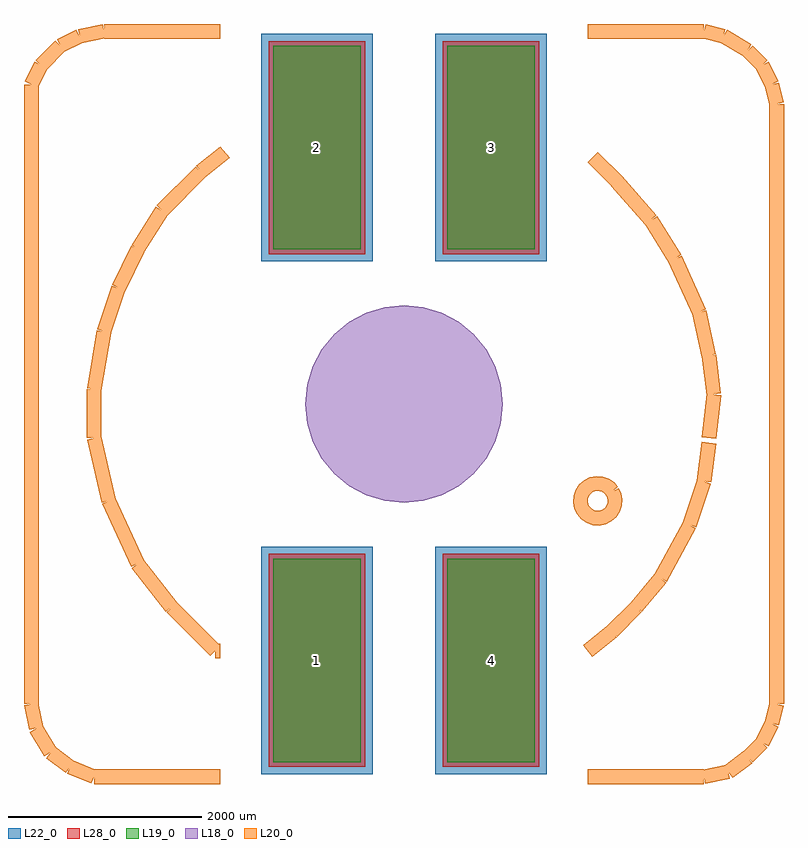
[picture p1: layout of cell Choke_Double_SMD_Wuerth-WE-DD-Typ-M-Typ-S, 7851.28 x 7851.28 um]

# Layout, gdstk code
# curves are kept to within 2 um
import gdstk
lib = gdstk.Library(unit=1e-6, precision=1e-09)
def R(c, l, rs):  # rectangles x0, y0, x1, y1
    for r in rs: c.add(gdstk.rectangle(r[:2], r[2:], *l))
def P(c, l, *ps):  # polygons
    for p in ps: c.add(gdstk.Polygon(p, *l))
L18_0 = (18, 0)
L19_0 = (19, 0)
L20_0 = (20, 0)
L22_0 = (22, 0)
L28_0 = (28, 0)

choke_double_smd_wuerth_ = lib.new_cell('Choke_Double_SMD_Wuerth-WE-DD-Typ-M-Typ-S')
P(choke_double_smd_wuerth_, L18_0, [(100,0),(92.388,38.268),(70.711,70.711),(38.268,92.388),(0,100),(-38.268,92.388),(-70.711,70.711),(-92.388,38.268),(-100,0),(-92.388,-38.268),(-70.711,-70.711),(-38.268,-92.388),(0,-100),(38.268,-92.388),(70.711,-70.711),(92.388,-38.268)],
  [(316.227,0),(310.151,61.693),(292.156,121.015),(262.933,175.686),(223.606,223.606),(175.686,262.933),(121.015,292.156),(61.693,310.151),(0,316.227),(-61.693,310.151),(-121.015,292.156),(-175.686,262.933),(-223.606,223.606),(-262.933,175.686),(-292.156,121.015),(-310.151,61.693),(-316.227,0),(-310.151,-61.693),(-292.156,-121.015),(-262.933,-175.686),(-223.606,-223.606),(-175.686,-262.933),(-121.015,-292.156),(-61.693,-310.151),(0,-316.227),(61.693,-310.151),(121.015,-292.156),(175.686,-262.933),(223.606,-223.606),(262.933,-175.686),(292.156,-121.015),(310.151,-61.693)],
  [(600,0),(588.471,117.054),(554.328,229.61),(498.882,333.342),(424.264,424.264),(333.342,498.882),(229.61,554.328),(117.054,588.471),(0,600),(-117.054,588.471),(-229.61,554.328),(-333.342,498.882),(-424.264,424.264),(-498.882,333.342),(-554.328,229.61),(-588.471,117.054),(-600,0),(-588.471,-117.054),(-554.328,-229.61),(-498.882,-333.342),(-424.264,-424.264),(-333.342,-498.882),(-229.61,-554.328),(-117.054,-588.471),(0,-600),(117.054,-588.471),(229.61,-554.328),(333.342,-498.882),(424.264,-424.264),(498.882,-333.342),(554.328,-229.61),(588.471,-117.054)],
  [(806.225,0),(790.734,157.287),(744.855,308.529),(670.352,447.915),(570.087,570.087),(447.915,670.352),(308.529,744.855),(157.287,790.734),(0,806.225),(-157.287,790.734),(-308.529,744.855),(-447.915,670.352),(-570.087,570.087),(-670.352,447.915),(-744.855,308.529),(-790.734,157.287),(-806.225,0),(-790.734,-157.287),(-744.855,-308.529),(-670.352,-447.915),(-570.087,-570.087),(-447.915,-670.352),(-308.529,-744.855),(-157.287,-790.734),(0,-806.225),(157.287,-790.734),(308.529,-744.855),(447.915,-670.352),(570.087,-570.087),(670.352,-447.915),(744.855,-308.529),(790.734,-157.287)],
  [(1019.803,0),(1000.208,198.954),(942.175,390.262),(847.935,566.572),(721.11,721.11),(566.572,847.935),(390.262,942.175),(198.954,1000.208),(0,1019.803),(-198.954,1000.208),(-390.262,942.175),(-566.572,847.935),(-721.11,721.11),(-847.935,566.572),(-942.175,390.262),(-1000.208,198.954),(-1019.803,0),(-1000.208,-198.954),(-942.175,-390.262),(-847.935,-566.572),(-721.11,-721.11),(-566.572,-847.935),(-390.262,-942.175),(-198.954,-1000.208),(0,-1019.803),(198.954,-1000.208),(390.262,-942.175),(566.572,-847.935),(721.11,-721.11),(847.935,-566.572),(942.175,-390.262),(1000.208,-198.954)])
R(choke_double_smd_wuerth_, L19_0, [(-1349.54,-3699.04,-448.78,-1599.4), (448.78,-3699.04,1349.54,-1599.4), (-1349.54,1599.4,-448.78,3699.04), (448.78,1599.4,1349.54,3699.04)])
R(choke_double_smd_wuerth_, L22_0, [(-1474.54,-3824.04,-323.78,-1474.4), (323.78,-3824.04,1474.54,-1474.4), (-1474.54,1474.4,-323.78,3824.04), (323.78,1474.4,1474.54,3824.04)])
R(choke_double_smd_wuerth_, L28_0, [(-1399.54,-3749.04,-398.78,-1549.4), (398.78,-3749.04,1399.54,-1549.4), (-1399.54,1549.4,-398.78,3749.04), (398.78,1549.4,1399.54,3749.04)])
choke_double_smd_wuerth_.add(gdstk.FlexPath([(3799.84,3299.46),(3850.64,3098.8)], 149.998, ends="flush", simple_path=True, layer=20, datatype=0))  # L20_0
choke_double_smd_wuerth_.add(gdstk.FlexPath([(3700.78,3500.12),(3799.84,3299.46)], 149.998, ends="flush", simple_path=True, layer=20, datatype=0))  # L20_0
choke_double_smd_wuerth_.add(gdstk.FlexPath([(3550.92,3649.98),(3700.78,3500.12)], 149.998, ends="flush", simple_path=True, layer=20, datatype=0))  # L20_0
choke_double_smd_wuerth_.add(gdstk.FlexPath([(3299.46,3799.84),(3550.92,3649.98)], 149.998, ends="flush", simple_path=True, layer=20, datatype=0))  # L20_0
choke_double_smd_wuerth_.add(gdstk.FlexPath([(3098.8,3850.64),(3299.46,3799.84)], 149.998, ends="flush", simple_path=True, layer=20, datatype=0))  # L20_0
choke_double_smd_wuerth_.add(gdstk.FlexPath([(1899.92,3850.64),(3098.8,3850.64)], 149.998, ends="flush", simple_path=True, layer=20, datatype=0))  # L20_0
choke_double_smd_wuerth_.add(gdstk.FlexPath([(3098.8,-3850.64),(1899.92,-3850.64)], 149.998, ends="flush", simple_path=True, layer=20, datatype=0))  # L20_0
choke_double_smd_wuerth_.add(gdstk.FlexPath([(3350.26,-3799.84),(3098.8,-3850.64)], 149.998, ends="flush", simple_path=True, layer=20, datatype=0))  # L20_0
choke_double_smd_wuerth_.add(gdstk.FlexPath([(3550.92,-3649.98),(3350.26,-3799.84)], 149.998, ends="flush", simple_path=True, layer=20, datatype=0))  # L20_0
choke_double_smd_wuerth_.add(gdstk.FlexPath([(3700.78,-3500.12),(3550.92,-3649.98)], 149.998, ends="flush", simple_path=True, layer=20, datatype=0))  # L20_0
choke_double_smd_wuerth_.add(gdstk.FlexPath([(3799.84,-3299.46),(3700.78,-3500.12)], 149.998, ends="flush", simple_path=True, layer=20, datatype=0))  # L20_0
choke_double_smd_wuerth_.add(gdstk.FlexPath([(3850.64,-3098.8),(3799.84,-3299.46)], 149.998, ends="flush", simple_path=True, layer=20, datatype=0))  # L20_0
choke_double_smd_wuerth_.add(gdstk.FlexPath([(3850.64,3098.8),(3850.64,-3098.8)], 149.998, ends="flush", simple_path=True, layer=20, datatype=0))  # L20_0
choke_double_smd_wuerth_.add(gdstk.FlexPath([(-3850.64,3299.46),(-3850.64,3098.8)], 149.998, ends="flush", simple_path=True, layer=20, datatype=0))  # L20_0
choke_double_smd_wuerth_.add(gdstk.FlexPath([(-3749.04,3500.12),(-3850.64,3299.46)], 149.998, ends="flush", simple_path=True, layer=20, datatype=0))  # L20_0
choke_double_smd_wuerth_.add(gdstk.FlexPath([(-3550.92,3700.78),(-3749.04,3500.12)], 149.998, ends="flush", simple_path=True, layer=20, datatype=0))  # L20_0
choke_double_smd_wuerth_.add(gdstk.FlexPath([(-3350.26,3799.84),(-3550.92,3700.78)], 149.998, ends="flush", simple_path=True, layer=20, datatype=0))  # L20_0
choke_double_smd_wuerth_.add(gdstk.FlexPath([(-3098.8,3850.64),(-3350.26,3799.84)], 149.998, ends="flush", simple_path=True, layer=20, datatype=0))  # L20_0
choke_double_smd_wuerth_.add(gdstk.FlexPath([(-1899.92,3850.64),(-3098.8,3850.64)], 149.998, ends="flush", simple_path=True, layer=20, datatype=0))  # L20_0
choke_double_smd_wuerth_.add(gdstk.FlexPath([(-3200.4,-3850.64),(-3098.8,-3850.64)], 149.998, ends="flush", simple_path=True, layer=20, datatype=0))  # L20_0
choke_double_smd_wuerth_.add(gdstk.FlexPath([(-3449.32,-3749.04),(-3200.4,-3850.64)], 149.998, ends="flush", simple_path=True, layer=20, datatype=0))  # L20_0
choke_double_smd_wuerth_.add(gdstk.FlexPath([(-3649.98,-3599.18),(-3449.32,-3749.04)], 149.998, ends="flush", simple_path=True, layer=20, datatype=0))  # L20_0
choke_double_smd_wuerth_.add(gdstk.FlexPath([(-3799.84,-3350.26),(-3649.98,-3599.18)], 149.998, ends="flush", simple_path=True, layer=20, datatype=0))  # L20_0
choke_double_smd_wuerth_.add(gdstk.FlexPath([(-3850.64,-3098.8),(-3799.84,-3350.26)], 149.998, ends="flush", simple_path=True, layer=20, datatype=0))  # L20_0
choke_double_smd_wuerth_.add(gdstk.FlexPath([(-3850.64,3098.8),(-3850.64,-3098.8)], 149.998, ends="flush", simple_path=True, layer=20, datatype=0))  # L20_0
choke_double_smd_wuerth_.add(gdstk.FlexPath([(-3098.8,-3850.64),(-1899.92,-3850.64)], 149.998, ends="flush", simple_path=True, layer=20, datatype=0))  # L20_0
choke_double_smd_wuerth_.add(gdstk.FlexPath([(3200.4,99.06),(3149.6,-350.52)], 149.998, ends="flush", simple_path=True, layer=20, datatype=0))  # L20_0
choke_double_smd_wuerth_.add(gdstk.FlexPath([(3149.6,500.38),(3200.4,99.06)], 149.998, ends="flush", simple_path=True, layer=20, datatype=0))  # L20_0
choke_double_smd_wuerth_.add(gdstk.FlexPath([(3050.54,949.96),(3149.6,500.38)], 149.998, ends="flush", simple_path=True, layer=20, datatype=0))  # L20_0
choke_double_smd_wuerth_.add(gdstk.FlexPath([(2799.08,1501.14),(3050.54,949.96)], 149.998, ends="flush", simple_path=True, layer=20, datatype=0))  # L20_0
choke_double_smd_wuerth_.add(gdstk.FlexPath([(2550.16,1899.92),(2799.08,1501.14)], 149.998, ends="flush", simple_path=True, layer=20, datatype=0))  # L20_0
choke_double_smd_wuerth_.add(gdstk.FlexPath([(2199.64,2301.24),(2550.16,1899.92)], 149.998, ends="flush", simple_path=True, layer=20, datatype=0))  # L20_0
choke_double_smd_wuerth_.add(gdstk.FlexPath([(1950.72,2550.16),(2199.64,2301.24)], 149.998, ends="flush", simple_path=True, layer=20, datatype=0))  # L20_0
choke_double_smd_wuerth_.add(gdstk.FlexPath([(2148.84,-2349.5),(1899.92,-2550.16)], 149.998, ends="flush", simple_path=True, layer=20, datatype=0))  # L20_0
choke_double_smd_wuerth_.add(gdstk.FlexPath([(2400.3,-2100.58),(2148.84,-2349.5)], 149.998, ends="flush", simple_path=True, layer=20, datatype=0))  # L20_0
choke_double_smd_wuerth_.add(gdstk.FlexPath([(2649.22,-1800.86),(2400.3,-2100.58)], 149.998, ends="flush", simple_path=True, layer=20, datatype=0))  # L20_0
choke_double_smd_wuerth_.add(gdstk.FlexPath([(2948.94,-1249.68),(2649.22,-1800.86)], 149.998, ends="flush", simple_path=True, layer=20, datatype=0))  # L20_0
choke_double_smd_wuerth_.add(gdstk.FlexPath([(3098.8,-800.1),(2948.94,-1249.68)], 149.998, ends="flush", simple_path=True, layer=20, datatype=0))  # L20_0
choke_double_smd_wuerth_.add(gdstk.FlexPath([(3149.6,-398.78),(3098.8,-800.1)], 149.998, ends="flush", simple_path=True, layer=20, datatype=0))  # L20_0
choke_double_smd_wuerth_.add(gdstk.FlexPath([(-1950.72,-2550.16),(-1899.92,-2550.16)], 149.998, ends="flush", simple_path=True, layer=20, datatype=0))  # L20_0
choke_double_smd_wuerth_.add(gdstk.FlexPath([(-2400.3,-2100.58),(-1950.72,-2550.16)], 149.998, ends="flush", simple_path=True, layer=20, datatype=0))  # L20_0
choke_double_smd_wuerth_.add(gdstk.FlexPath([(-2750.82,-1651),(-2400.3,-2100.58)], 149.998, ends="flush", simple_path=True, layer=20, datatype=0))  # L20_0
choke_double_smd_wuerth_.add(gdstk.FlexPath([(-3050.54,-1000.76),(-2750.82,-1651)], 149.998, ends="flush", simple_path=True, layer=20, datatype=0))  # L20_0
choke_double_smd_wuerth_.add(gdstk.FlexPath([(-3200.4,-350.52),(-3050.54,-1000.76)], 149.998, ends="flush", simple_path=True, layer=20, datatype=0))  # L20_0
choke_double_smd_wuerth_.add(gdstk.FlexPath([(-3200.4,149.86),(-3200.4,-350.52)], 149.998, ends="flush", simple_path=True, layer=20, datatype=0))  # L20_0
choke_double_smd_wuerth_.add(gdstk.FlexPath([(-3098.8,749.3),(-3200.4,149.86)], 149.998, ends="flush", simple_path=True, layer=20, datatype=0))  # L20_0
choke_double_smd_wuerth_.add(gdstk.FlexPath([(-2948.94,1198.88),(-3098.8,749.3)], 149.998, ends="flush", simple_path=True, layer=20, datatype=0))  # L20_0
choke_double_smd_wuerth_.add(gdstk.FlexPath([(-2750.82,1600.2),(-2948.94,1198.88)], 149.998, ends="flush", simple_path=True, layer=20, datatype=0))  # L20_0
choke_double_smd_wuerth_.add(gdstk.FlexPath([(-2499.36,1998.98),(-2750.82,1600.2)], 149.998, ends="flush", simple_path=True, layer=20, datatype=0))  # L20_0
choke_double_smd_wuerth_.add(gdstk.FlexPath([(-2100.58,2400.3),(-2499.36,1998.98)], 149.998, ends="flush", simple_path=True, layer=20, datatype=0))  # L20_0
choke_double_smd_wuerth_.add(gdstk.FlexPath([(-1849.12,2600.96),(-2100.58,2400.3)], 149.998, ends="flush", simple_path=True, layer=20, datatype=0))  # L20_0
choke_double_smd_wuerth_.add(gdstk.FlexPath([(2151.38,-901.7),(2120.635,-866.289),(2081.773,-840.042),(2037.441,-824.747),(1990.662,-821.447),(1944.622,-830.368),(1902.46,-850.9),(1867.049,-881.645),(1840.802,-920.507),(1825.507,-964.839),(1822.207,-1011.618),(1831.128,-1057.658),(1851.66,-1099.82),(1882.405,-1135.231),(1921.267,-1161.478),(1965.599,-1176.773),(2012.378,-1180.073),(2058.418,-1171.152),(2100.58,-1150.62),(2135.991,-1119.875),(2162.238,-1081.013),(2177.533,-1036.681),(2180.833,-989.902),(2171.912,-943.862),(2151.38,-901.7)], 149.998, ends="flush", simple_path=True, layer=20, datatype=0))  # L20_0
choke_double_smd_wuerth_.add(gdstk.Label('4', (899.16,-2649.22), layer=28, texttype=0))
choke_double_smd_wuerth_.add(gdstk.Label('1', (-899.16,-2649.22), layer=28, texttype=0))
choke_double_smd_wuerth_.add(gdstk.Label('3', (899.16,2649.22), layer=28, texttype=0))
choke_double_smd_wuerth_.add(gdstk.Label('2', (-899.16,2649.22), layer=28, texttype=0))
choke_double_smd_wuerth_.add(gdstk.Label('type', (-1270,-6350), layer=9, texttype=0))
choke_double_smd_wuerth_.add(gdstk.Label('devicename', (0,6350), layer=9, texttype=0))

lib.write_gds('Choke_Double_SMD_Wuerth-WE-DD-Typ-M-Typ-S.gds')
